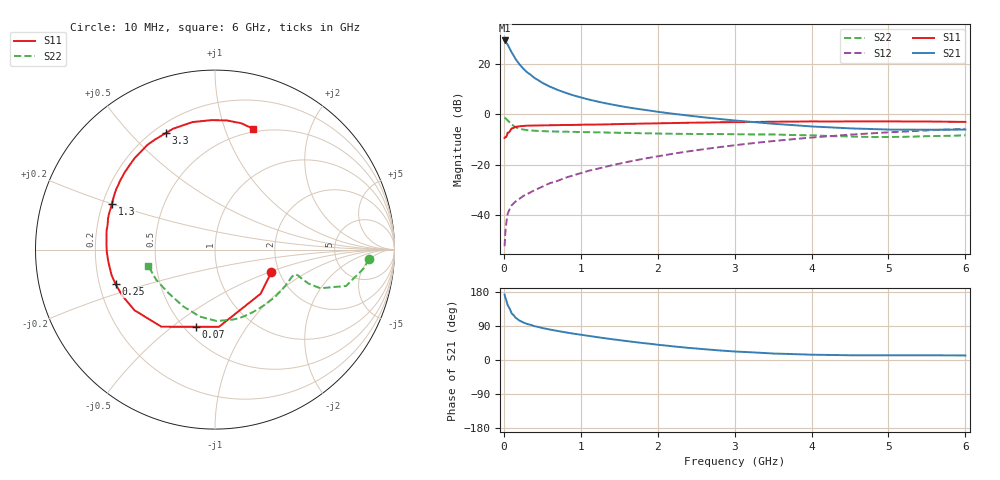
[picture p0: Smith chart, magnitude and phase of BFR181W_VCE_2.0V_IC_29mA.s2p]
! Infineon Technologies  Discrete & RF Semiconductors
! BFR181W
! VCE =  2.0 V,  IC =  29 mA
! Common Emitter S-Parameters:  Jan 2017
# GHz  S  MA  R  50
!  f  S11  S21  S12  S22
! GHz  MAG  ANG  MAG  ANG  MAG  ANG  MAG  ANG
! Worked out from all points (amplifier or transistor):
!   77 points, 10 MHz to 6 GHz, reference 50 ohm
!   highest |S21| = 29.3 dB at 10 MHz (marker M1)
!   |S21| within 3 dB of that: start of sweep to 72.28 MHz
!   unconditionally stable (mu >= 1): start of sweep to 18.8 MHz; 193.6 MHz to end of sweep
!   at 130 MHz: K = 0.80, MSG = 29.2 dB, |S12| = -35.3 dB
!   at 2.2 GHz: K = 1.21, MAG = 5.2 dB, |S12| = -15.7 dB
!   at 6 GHz: K = 1.17, MAG = -2.6 dB, |S12| = -5.8 dB
!   S11 on the Smith chart (normalised r, x): 10 MHz: 1.82, -0.52; 70 MHz: 0.57, -0.61; 250 MHz: 0.27, -0.16; 1.3 GHz: 0.24, +0.20; 3.3 GHz: 0.25, +0.63; 6 GHz: 0.47, +1.26
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0.01  0.3387 -21.8  29.27 172.7  0.0024 66.9  0.8579 -3.4
0.02  0.3537 -44.1  28.49 164.2  0.0046 76.8  0.8385 -6.9
0.05  0.4308 -87.1  24.17 144.5  0.0106 60.9  0.7583 -15.5
0.07  0.443 -103.9  21.05 137.8  0.0125 57.9  0.7054 -17.1
0.1  0.5232 -124.8  17.16 123.5  0.0154 54.9  0.6274 -20.1
0.15  0.5617 -143.0  12.73 112.1  0.0184 52.4  0.5558 -20.0
0.2  0.5765 -153.4  9.96 104.5  0.0208 54.4  0.5184 -18.8
0.25  0.5861 -160.7  8.155 99.3  0.0237 56.4  0.4986 -18.0
0.3  0.5935 -166.0  6.877 95.3  0.0258 57.7  0.4849 -17.3
0.4  0.5982 -173.4  5.246 89.2  0.0311 63.3  0.4714 -17.1
0.5  0.6029 -178.7  4.222 84.4  0.0364 66.6  0.4631 -17.7
0.6  0.6056 177.1  3.54 80.3  0.0429 69.2  0.4577 -18.7
0.7  0.6087 173.3  3.047 76.6  0.0476 71.9  0.4536 -19.7
0.9  0.6142 166.8  2.386 69.7  0.0611 74.2  0.4474 -23.0
1.1  0.6236 161.2  1.974 63.7  0.0753 76.5  0.4418 -26.6
1.3  0.6287 155.9  1.681 57.8  0.0886 77.4  0.4354 -30.7
2.1  0.665 137.4  1.072 38.2  0.1553 76.2  0.4118 -50.2
3.1  0.6996 116.9  0.732 21.5  0.2526 68.2  0.3999 -78.1
3.3  0.7046 113.0  0.689 19.4  0.273 66.0  0.3973 -83.3
4.1  0.7203 98.3  0.563 13.7  0.3542 56.5  0.3764 -105.8
5.1  0.7212 83.5  0.496 12.5  0.4456 43.7  0.355 -140.0
6  0.7058 72.4  0.497 11.9  0.5139 32.3  0.3822 -165.8
